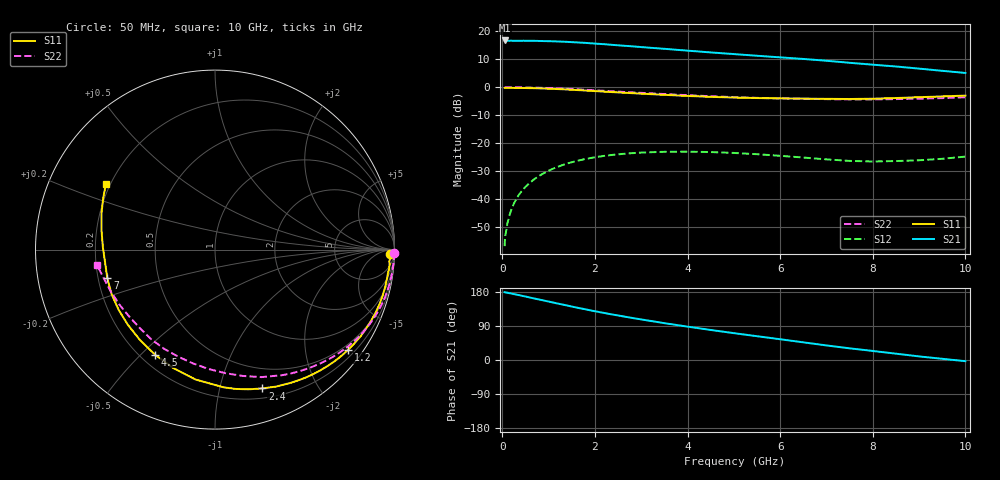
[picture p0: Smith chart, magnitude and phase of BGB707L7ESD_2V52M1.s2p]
!  Infineon Technologies AG
!  BGB707L7ESD RU919007 w#7 Sample Build #08493 Teil Nr. 3
!  Vce = 2.5V, Ic = 2.1mA
!  DATUM: 30.06.2009 10:16:23
# GHz  S  MA  R  50
!f  S11  S21  S12  S22
!GHz  Mag  Ang  Mag  Ang  Mag  Ang  Mag  Ang
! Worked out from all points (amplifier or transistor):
!   52 points, 50 MHz to 10 GHz, reference 50 ohm
!   highest |S21| = 16.7 dB at 60 MHz (marker M1)
!   |S21| within 3 dB of that: start of sweep to 3.504 GHz
!   unconditionally stable (mu >= 1): 7.053 GHz to end of sweep
!   at 130 MHz: K = -0.01, MSG = 32.1 dB, |S12| = -47.4 dB
!   at 1.4 GHz: K = 0.06, MSG = 21.8 dB, |S12| = -27.3 dB
!   at 10 GHz: K = 1.13, MAG = 12.7 dB, |S12| = -24.8 dB
!   lowest NFmin = 0.40 dB at 100 MHz
!   S11 on the Smith chart (normalised r, x): 50 MHz: 41, -40; 1.2 GHz: 0.37, -2.95; 2.4 GHz: 0.29, -1.36; 4.5 GHz: 0.26, -0.55; 7 GHz: 0.24, -0.12; 10 GHz: 0.18, +0.27
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0.05  0.9755 -1.4  6.739 179.0  0.00144 90.7  0.9991 -1.0
0.06  0.9788 -2.1  6.871 178.7  0.00224 89.2  0.999 -1.3
0.08  0.973 -2.3  6.748 178.0  0.002641 88.0  0.9992 -1.8
0.09  0.9773 -2.7  6.801 178.4  0.002876 88.7  0.9991 -2.0
0.1  0.9759 -3.3  6.774 177.5  0.003214 88.0  0.9988 -2.2
0.2  0.9757 -6.4  6.803 175.4  0.006674 86.1  0.9977 -4.5
0.4  0.9709 -12.3  6.765 170.2  0.01326 82.0  0.9933 -9.0
0.7  0.961 -21.7  6.768 162.1  0.02301 75.0  0.9834 -15.8
1.2  0.9282 -37.0  6.58 148.9  0.03791 64.2  0.9529 -26.8
1.5  0.9024 -45.9  6.415 141.0  0.04568 57.8  0.9281 -33.3
1.8  0.8738 -54.7  6.212 133.6  0.05229 51.7  0.9008 -39.6
2.2  0.8358 -65.9  5.891 124.1  0.0593 44.3  0.863 -47.4
2.4  0.817 -71.2  5.712 119.5  0.06201 40.8  0.8448 -51.2
2.8  0.7845 -81.7  5.402 111.1  0.0663 34.5  0.8103 -58.3
3.5  0.7319 -98.5  4.867 97.2  0.07018 24.8  0.7561 -70.0
4  0.6996 -109.5  4.519 88.1  0.07049 19.0  0.721 -77.5
4.5  0.6739 -119.8  4.199 79.3  0.06936 14.3  0.691 -85.2
5.5  0.6415 -139.1  3.66 62.8  0.06352 7.5  0.6459 -101.0
6.5  0.6274 -156.7  3.209 46.6  0.0554 6.2  0.6213 -117.1
7  0.6207 -165.2  2.979 38.4  0.05137 7.9  0.6131 -125.4
8.5  0.642 170.2  2.351 16.7  0.04789 22.8  0.6143 -149.8
10  0.7095 148.9  1.803 -3.1  0.05755 35.6  0.6624 -172.3
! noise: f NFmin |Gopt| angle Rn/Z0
0.1  0.4  0.68  2  0.23
0.45  0.51  0.68  4  0.23
0.9  0.57  0.7  13  0.22
1.8  0.65  0.54  36  0.22
5  1.07  0.43  79  0.2
10  2.02  0.48  -143  0.13
